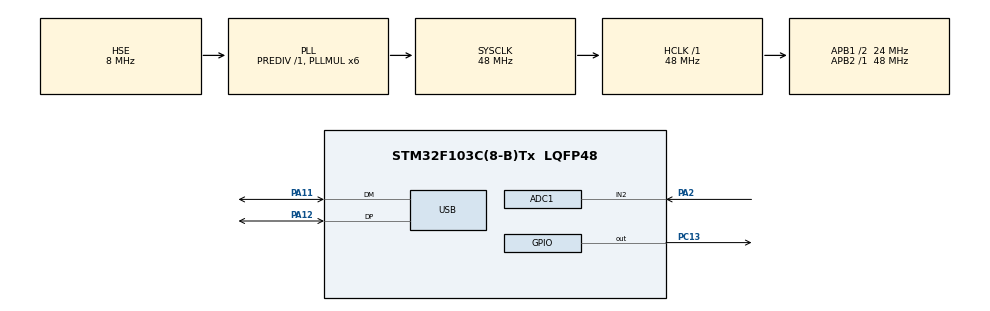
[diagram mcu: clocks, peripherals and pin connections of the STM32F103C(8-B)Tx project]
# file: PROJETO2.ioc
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ADC1.Channel-1\#ChannelRegularConversion=ADC_CHANNEL_2
ADC1.ContinuousConvMode=ENABLE
ADC1.NbrOfConversionFlag=1
ADC1.Rank-1\#ChannelRegularConversion=1
ADC1.SamplingTime-1\#ChannelRegularConversion=ADC_SAMPLETIME_55CYCLES_5
ADC1.master=1
Mcu.Family=STM32F1
Mcu.Name=STM32F103C(8-B)Tx
Mcu.Package=LQFP48
NVIC.PriorityGroup=NVIC_PRIORITYGROUP_4
NVIC.USB_LP_CAN1_RX0_IRQn=true\:0\:0\:false\:false\:true\:false\:true
PA11.Mode=Device
PA11.Signal=USB_DM
PA12.Mode=Device
PA12.Signal=USB_DP
PA13.Mode=Serial_Wire
PA13.Signal=SYS_JTMS-SWDIO
PA14.Mode=Serial_Wire
PA14.Signal=SYS_JTCK-SWCLK
PA2.Signal=ADCx_IN2
PC13-TAMPER-RTC.Signal=GPIO_Output
PD0-OSC_IN.Mode=HSE-External-Oscillator
PD0-OSC_IN.Signal=RCC_OSC_IN
PD1-OSC_OUT.Mode=HSE-External-Oscillator
PD1-OSC_OUT.Signal=RCC_OSC_OUT
ProjectManager.HeapSize=0x200
ProjectManager.StackSize=0x400
ProjectManager.TargetToolchain=STM32CubeIDE
RCC.ADCPresc=RCC_ADCPCLK2_DIV4
RCC.AHBFreq_Value=48000000
RCC.APB1CLKDivider=RCC_HCLK_DIV2
RCC.APB1Freq_Value=24000000
RCC.APB1TimFreq_Value=48000000
RCC.APB2Freq_Value=48000000
RCC.APB2TimFreq_Value=48000000
RCC.HCLKFreq_Value=48000000
RCC.PLLMUL=RCC_PLL_MUL6
RCC.SYSCLKFreq_VALUE=48000000
RCC.SYSCLKSource=RCC_SYSCLKSOURCE_PLLCLK
RCC.USBFreq_Value=48000000
SH.ADCx_IN2.0=ADC1_IN2,IN2
USB_DEVICE.CLASS_NAME_FS=CDC
USB_DEVICE.VirtualMode=Cdc
USB_DEVICE.VirtualModeFS=Cdc_FS
VP_USB_DEVICE_VS_USB_DEVICE_CDC_FS.Mode=CDC_FS
board=custom

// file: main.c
/* USER CODE BEGIN Header */
/**
  ******************************************************************************
  * @file           : main.c
  * @brief          : Main program body
  ******************************************************************************
  * @attention
  *
  * <h2><center>&copy; Copyright (c) 2026 STMicroelectronics.
  * All rights reserved.</center></h2>
  *
  * This software component is licensed by ST under BSD 3-Clause license,
  * the "License"; You may not use this file except in compliance with the
  * License. You may obtain a copy of the License at:
  *                        opensource.org/licenses/BSD-3-Clause
  *
  ******************************************************************************
  */
/* USER CODE END Header */
#include "main.h"
#include "usb_device.h"

/* USER CODE BEGIN Includes */
#include "usbd_cdc_if.h"
#include <stdio.h>
#include <string.h>
/* USER CODE END Includes */

ADC_HandleTypeDef hadc1;

/* USER CODE BEGIN PV */
// Variáveis para o Filtro Passa-Baixas
float alpha = 0.15f;
float filtro = 0.0f;
uint8_t primeiraLeitura = 1;
/* USER CODE END PV */

void SystemClock_Config(void);
static void MX_GPIO_Init(void);
static void MX_ADC1_Init(void);
/* USER CODE BEGIN PFP */
float PassaBaixa(int entrada);
void ProcessarEEnviar(void);
/* USER CODE END PFP */

/* USER CODE BEGIN 0 */
// Função do Filtro Passa-Baixas
float PassaBaixa(int entrada)
{
    if (primeiraLeitura)
    {
        filtro = (float)entrada;
        primeiraLeitura = 0;
    }
    else
    {
        filtro = filtro + alpha * ((float)entrada - filtro);
    }
    return filtro;
}

void ProcessarEEnviar(void)
{
    uint32_t adc_raw = 0;

    // 1. Inicia UMA nova conversão analógica limpa
    HAL_ADC_Start(&hadc1);

    // 2. Aguarda a conversão física terminar (timeout de 10ms)
    if (HAL_ADC_PollForConversion(&hadc1, 10) == HAL_OK)
    {
        // 3. Lê o novo valor real medido
        adc_raw = HAL_ADC_GetValue(&hadc1);
    }

    // 4. Para o ADC para liberar o hardware para a próxima chamada
    HAL_ADC_Stop(&hadc1);

    // 5. Aplica o filtro passa-baixas
    int valor_final = (int)PassaBaixa((int)adc_raw);

    // 6. Formata e envia via USB CDC
    char buffer[32];
    int len = sprintf(buffer, "%03X\r\n", valor_final);
    CDC_Transmit_FS((uint8_t*)buffer, len);
}
/* USER CODE END 0 */

int main(void)
{

  /* MCU Configuration--------------------------------------------------------*/

  /* Reset of all peripherals, Initializes the Flash interface and the Systick. */
  HAL_Init();

  /* Configure the system clock */
  SystemClock_Config();

  /* Initialize all configured peripherals */
  MX_GPIO_Init();
  MX_USB_DEVICE_Init();
  MX_ADC1_Init();
  /* USER CODE BEGIN 2 */
   HAL_ADCEx_Calibration_Start(&hadc1);
  /* USER CODE END 2 */

  /* Infinite loop */
  while (1)
  {

    /* USER CODE BEGIN 3 */
    ProcessarEEnviar();
    HAL_Delay(40); // Envia periodicamente a cada 200ms
  }
  /* USER CODE END 3 */
}

void SystemClock_Config(void)
{
  RCC_OscInitTypeDef RCC_OscInitStruct = {0};
  RCC_ClkInitTypeDef RCC_ClkInitStruct = {0};
  RCC_PeriphCLKInitTypeDef PeriphClkInit = {0};

  /** Initializes the RCC Oscillators according to the specified parameters
  * in the RCC_OscInitTypeDef structure.
  */
  RCC_OscInitStruct.OscillatorType = RCC_OSCILLATORTYPE_HSE;
  RCC_OscInitStruct.HSEState = RCC_HSE_ON;
  RCC_OscInitStruct.HSEPredivValue = RCC_HSE_PREDIV_DIV1;
  RCC_OscInitStruct.HSIState = RCC_HSI_ON;
  RCC_OscInitStruct.PLL.PLLState = RCC_PLL_ON;
  RCC_OscInitStruct.PLL.PLLSource = RCC_PLLSOURCE_HSE;
  RCC_OscInitStruct.PLL.PLLMUL = RCC_PLL_MUL6;
  if (HAL_RCC_OscConfig(&RCC_OscInitStruct) != HAL_OK)
  {
    Error_Handler();
  }
  /** Initializes the CPU, AHB and APB buses clocks
  */
  RCC_ClkInitStruct.ClockType = RCC_CLOCKTYPE_HCLK|RCC_CLOCKTYPE_SYSCLK
                              |RCC_CLOCKTYPE_PCLK1|RCC_CLOCKTYPE_PCLK2;
  RCC_ClkInitStruct.SYSCLKSource = RCC_SYSCLKSOURCE_PLLCLK;
  RCC_ClkInitStruct.AHBCLKDivider = RCC_SYSCLK_DIV1;
  RCC_ClkInitStruct.APB1CLKDivider = RCC_HCLK_DIV2;
  RCC_ClkInitStruct.APB2CLKDivider = RCC_HCLK_DIV1;

  if (HAL_RCC_ClockConfig(&RCC_ClkInitStruct, FLASH_LATENCY_1) != HAL_OK)
  {
    Error_Handler();
  }
  PeriphClkInit.PeriphClockSelection = RCC_PERIPHCLK_ADC|RCC_PERIPHCLK_USB;
  PeriphClkInit.AdcClockSelection = RCC_ADCPCLK2_DIV4;
  PeriphClkInit.UsbClockSelection = RCC_USBCLKSOURCE_PLL;
  if (HAL_RCCEx_PeriphCLKConfig(&PeriphClkInit) != HAL_OK)
  {
    Error_Handler();
  }
}

static void MX_ADC1_Init(void)
{

  ADC_ChannelConfTypeDef sConfig = {0};

  /** Common config
  */
  hadc1.Instance = ADC1;
  hadc1.Init.ScanConvMode = ADC_SCAN_DISABLE;
  hadc1.Init.ContinuousConvMode = ENABLE;
  hadc1.Init.DiscontinuousConvMode = DISABLE;
  hadc1.Init.ExternalTrigConv = ADC_SOFTWARE_START;
  hadc1.Init.DataAlign = ADC_DATAALIGN_RIGHT;
  hadc1.Init.NbrOfConversion = 1;
  if (HAL_ADC_Init(&hadc1) != HAL_OK)
  {
    Error_Handler();
  }
  /** Configure Regular Channel
  */
  sConfig.Channel = ADC_CHANNEL_2;
  sConfig.Rank = ADC_REGULAR_RANK_1;
  sConfig.SamplingTime = ADC_SAMPLETIME_55CYCLES_5;
  if (HAL_ADC_ConfigChannel(&hadc1, &sConfig) != HAL_OK)
  {
    Error_Handler();
  }

}

static void MX_GPIO_Init(void)
{
  GPIO_InitTypeDef GPIO_InitStruct = {0};

  /* GPIO Ports Clock Enable */
  __HAL_RCC_GPIOC_CLK_ENABLE();
  __HAL_RCC_GPIOD_CLK_ENABLE();
  __HAL_RCC_GPIOA_CLK_ENABLE();

  /*Configure GPIO pin Output Level */
  HAL_GPIO_WritePin(GPIOC, GPIO_PIN_13, GPIO_PIN_RESET);

  /*Configure GPIO pin : PC13 */
  GPIO_InitStruct.Pin = GPIO_PIN_13;
  GPIO_InitStruct.Mode = GPIO_MODE_OUTPUT_PP;
  GPIO_InitStruct.Pull = GPIO_NOPULL;
  GPIO_InitStruct.Speed = GPIO_SPEED_FREQ_LOW;
  HAL_GPIO_Init(GPIOC, &GPIO_InitStruct);

}

void Error_Handler(void)
{
  __disable_irq();
  while (1)
  {
  }
}

/************************ (C) COPYRIGHT STMicroelectronics *****END OF FILE****/
